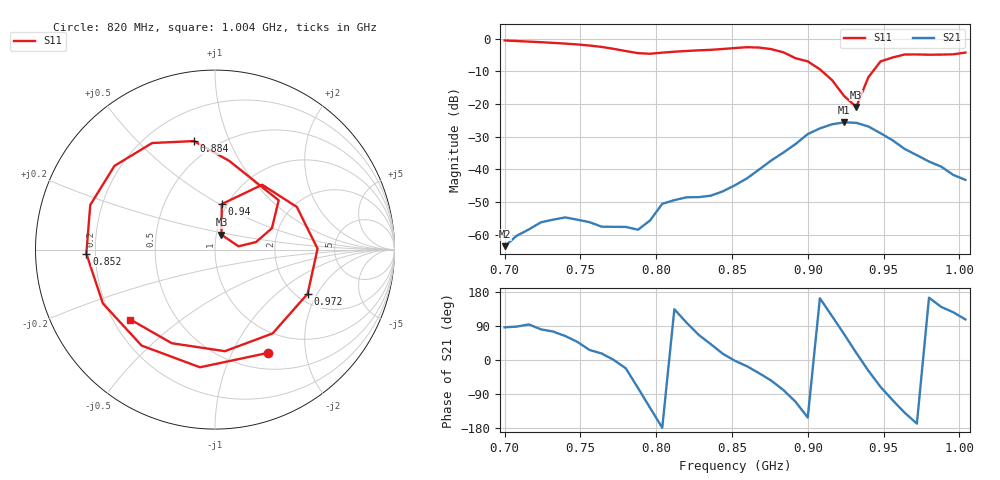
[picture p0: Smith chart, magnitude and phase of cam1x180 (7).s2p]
# Hz S RI R 50
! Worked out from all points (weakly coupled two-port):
!   39 points, 700 MHz to 1.004 GHz, reference 50 ohm
!   highest |S21| = -25.63 dB at 924 MHz (marker M1); lowest = -63.5 dB at 700 MHz (marker M2)
!   lowest |S11| = -20.9 dB at 932 MHz (marker M3), VSWR 1.20, Z = 53 + j8.84 ohm
!   |S11| at or under -10 dB: 909.4 MHz to 943 MHz (33.57 MHz wide, 3.62 % of centre)
!   S12 and S22 are empty: the file has one direction only
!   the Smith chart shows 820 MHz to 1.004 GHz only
!   S11 on the Smith chart (normalised r, x): 820 MHz: 0.70, -1.38; 852 MHz: 0.16, -0.02; 884 MHz: 0.38, +0.75; 940 MHz: 0.94, +0.51; 972 MHz: 2.28, -1.67; 1.004 GHz: 0.27, -0.34
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7e8  0.7573 0.5506  4.38e-05 0.000666  0 0  0 0
7.24e8  0.846 -0.2451  0.000247 0.00153  0 0  0 0
7.4e8  0.4568 -0.7029  0.000826 0.00164  0 0  0 0
7.56e8  -0.1909 -0.759  0.00139 0.000693  0 0  0 0
7.72e8  -0.6657 -0.2047  0.00132 4.1e-06  0 0  0 0
7.8e8  -0.6044 0.2225  0.00122 -0.000496  0 0  0 0
7.96e8  0.2282 0.5398  -0.000982 -0.00133  0 0  0 0
8.04e8  0.5768 0.1962  -0.00297 -6.09e-05  0 0  0 0
8.2e8  0.2929 -0.576  -0.000563 0.00369  0 0  0 0
8.36e8  -0.4089 -0.5348  0.00294 0.00264  0 0  0 0
8.52e8  -0.7169 -0.0224  0.00571 -0.000222  0 0  0 0
8.68e8  -0.5601 0.4665  0.00817 -0.00573  0 0  0 0
8.84e8  -0.1176 0.6047  0.00328 -0.0178  0 0  0 0
9e8  0.3548 0.2746  -0.0305 -0.0163  0 0  0 0
9.08e8  0.317 0.1188  -0.0404 0.0124  0 0  0 0
9.24e8  0.1309 0.0183  0.0194 0.0486  0 0  0 0
9.32e8  0.0358 0.0828  0.0487 0.0166  0 0  0 0
9.4e8  0.0378 0.2536  0.0398 -0.0214  0 0  0 0
9.56e8  0.4559 0.2376  -0.00771 -0.0267  0 0  0 0
9.72e8  0.5161 -0.246  -0.0161 -0.00344  0 0  0 0
9.88e8  0.0552 -0.5661  -0.00845 0.00705  0 0  0 0
1.004e9  -0.471 -0.3897  -0.00203 0.00659  0 0  0 0
